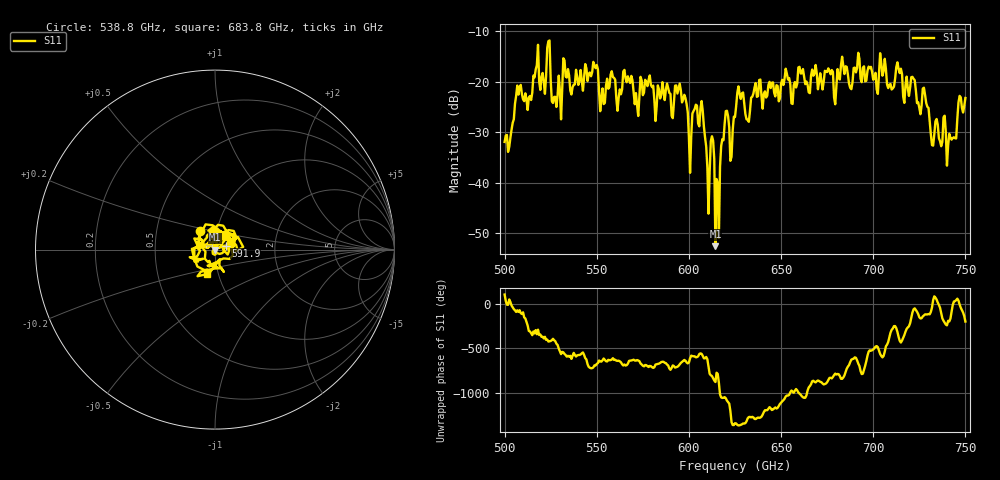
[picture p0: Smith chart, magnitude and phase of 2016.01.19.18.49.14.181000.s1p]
!Created with skrf (http://scikit-rf.org).
# GHz S RI R 50.0
!freq ReS11 ImS11
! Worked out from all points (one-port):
!   401 points, 500 GHz to 750 GHz, reference 50 ohm
!   lowest |S11| = -52.6 dB at 614.4 GHz (marker M1), VSWR 1.00, Z = 49.8 - j0.0834 ohm
!   |S11| at or under -10 dB: start of sweep to end of sweep
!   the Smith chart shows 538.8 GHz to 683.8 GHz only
!   S11 on the Smith chart (normalised r, x): 538.8 GHz: 0.83, +0.18; 591.9 GHz: 1.12, +0.05; 683.8 GHz: 0.88, -0.25
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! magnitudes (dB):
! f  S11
! 500 GHz  -31.9
! 516.9 GHz  -17.5
! 520.6 GHz  -18.2
! 523.8 GHz  -11.9
! 526.9 GHz  -23.0
! 531.2 GHz  -21.1
! 538.8 GHz  -17.6
! 549.4 GHz  -17.3
! 553.1 GHz  -21.3
! 558.8 GHz  -19.0
! 562.5 GHz  -21.5
! 591.9 GHz  -24.1
! 593.8 GHz  -22.3
! 600.6 GHz  -38.0
! 607.5 GHz  -25.8
! 610 GHz  -36.9
! 612.5 GHz  -30.8
! 614.4 GHz  -52.6
! 615.6 GHz  -40.1
! 619.4 GHz  -28.3
! 623.1 GHz  -34.8
! 625 GHz  -27.0
! 656.2 GHz  -24.4
! 683.8 GHz  -16.8
! 687.5 GHz  -21.2
! 718.8 GHz  -21.3
! 741.2 GHz  -30.3
! 750 GHz  -23.2
